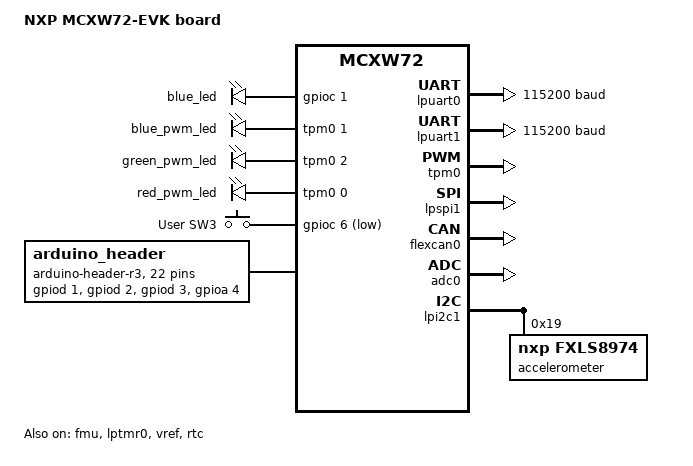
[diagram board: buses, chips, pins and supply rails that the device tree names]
/*
 * Copyright 2024-2025 NXP
 * SPDX-License-Identifier: Apache-2.0
 */

/dts-v1/;

#include <nxp/nxp_mcxw72.dtsi>
#include "mcxw72_evk-pinctrl.dtsi"
#include <zephyr/dt-bindings/input/input-event-codes.h>

/ {
	model = "NXP MCXW72-EVK board";

	aliases {
		led0 = &blue_led;
		blue-pwm-led = &blue_pwm_led;
		green-pwm-led = &green_pwm_led;
		red-pwm-led = &red_pwm_led;
		sw0 = &user_button_0;
	};

	chosen {
		zephyr,flash = &flash;
		zephyr,flash-controller = &fmu;
		zephyr,code-partition = &code_partition;
		zephyr,sram = &stcm0;
		zephyr,console = &lpuart1;
		zephyr,shell-uart = &lpuart1;
		zephyr,uart-pipe = &lpuart0;
		zephyr,canbus = &flexcan0;
		zephyr,bt-c2h-uart = &lpuart0;
	};

	user_led {
		compatible = "gpio-leds";
		blue_led: led {
			gpios = <&gpioc 1 GPIO_ACTIVE_HIGH>;
		};
	};

	pwmleds {
		compatible = "pwm-leds";
		blue_pwm_led: pwm_led_0 {
			pwms = <&tpm0 1 PWM_MSEC(20) PWM_POLARITY_INVERTED>;
		};
		green_pwm_led: pwm_led_1 {
			pwms = <&tpm0 2 PWM_MSEC(20) PWM_POLARITY_INVERTED>;
		};
		red_pwm_led: pwm_led_2 {
			pwms = <&tpm0 0 PWM_MSEC(20) PWM_POLARITY_INVERTED>;
		};
	};

	gpio_keys {
		compatible = "gpio-keys";
		user_button_0: button_0 {
			label = "User SW3";
			gpios = <&gpioc 6 (GPIO_ACTIVE_LOW | GPIO_PULL_UP)>;
			zephyr,code = <INPUT_KEY_0>;
			status = "okay";
		};
	};

	arduino_header: arduino-connector {
		compatible = "arduino-header-r3";
		#gpio-cells = <2>;
		gpio-map-mask = <0xffffffff 0xffffffc0>;
		gpio-map-pass-thru = <0 0x3f>;
		gpio-map = <0 0 &gpiod 1 0>,	/* A0 */
			   <1 0 &gpiod 2 0>,	/* A1 */
			   <2 0 &gpiod 3 0>,	/* A2 */
			   <3 0 &gpioa 4 0>,	/* A3 */
			   <4 0 &gpioc 3 0>,	/* A4 */
			   <5 0 &gpioc 2 0>,	/* A5 */
			   <6 0 &gpioa 16 0>,	/* D0 */
			   <7 0 &gpioa 17 0>,	/* D1 */
			   <8 0 &gpioc 4 0>,	/* D2 */
			   <9 0 &gpioc 5 0>,	/* D3 */
			   <10 0 &gpioa 19 0>,	/* D4 */
			   <11 0 &gpioc 1 0>,	/* D5 */
			   <12 0 &gpioa 20 0>,	/* D6 */
			   <13 0 &gpioa 21 0>,	/* D7 */
			   <14 0 &gpioc 4 0>,	/* D8 */
			   <15 0 &gpioa 18 0>,	/* D9 */
			   <16 0 &gpiob 0 0>,	/* D10 */
			   <17 0 &gpiob 3 0>,	/* D11 */
			   <18 0 &gpiob 1 0>,	/* D12 */
			   <19 0 &gpiob 2 0>,	/* D13 */
			   <20 0 &gpiob 4 0>,	/* D14 */
			   <21 0 &gpiob 5 0>;	/* D15 */
	};
};

&gpioa {
	status = "okay";
};

&gpiob {
	status = "okay";
};

&gpioc {
	status = "okay";
};

&lpuart0 {
	current-speed = <115200>;
	status =  "okay";
	pinctrl-0 = <&pinmux_lpuart0>;
	pinctrl-names = "default";
};

&lpuart1 {
	current-speed = <115200>;
	status =  "okay";
	pinctrl-0 = <&pinmux_lpuart1>;
	pinctrl-names = "default";
};

&flash {
	partitions {
		compatible = "fixed-partitions";
		#address-cells = <1>;
		#size-cells = <1>;

		code_partition: partition@0 {
			reg = <0x0 DT_SIZE_K(2032)>;
		};

		storage_partition: partition@1FC000 {
			reg = <0x1FC000 DT_SIZE_K(16)>;
		};
	};
};

&fmu {
	status = "okay";
};

&tpm0 {
	status = "okay";
	pinctrl-0 = <&pinmux_tpm0>;
	pinctrl-names = "default";
};

&lptmr0 {
	status = "okay";
};

&lpspi1 {
	status = "okay";
	pinctrl-0 = <&pinmux_lpspi1>;
	pinctrl-names = "default";
};

&flexcan0 {
	status = "okay";
	pinctrl-0 = <&pinmux_flexcan>;
	pinctrl-names = "default";

	can-transceiver {
		max-bitrate = <5000000>;
	};
};

&vref {
	status = "okay";
};

&adc0 {
	pinctrl-0 = <&pinmux_lpadc0>;
	pinctrl-names = "default";
	status = "okay";
};

&lpi2c1 {
	status = "okay";
	pinctrl-0 = <&pinmux_lpi2c1>;
	pinctrl-names = "default";

	accelerometer: accelerometer@19 {
		status = "okay";
		compatible = "nxp,fxls8974";
		reg = <0x19>;
	};
};

&rtc {
	status = "okay";
};
